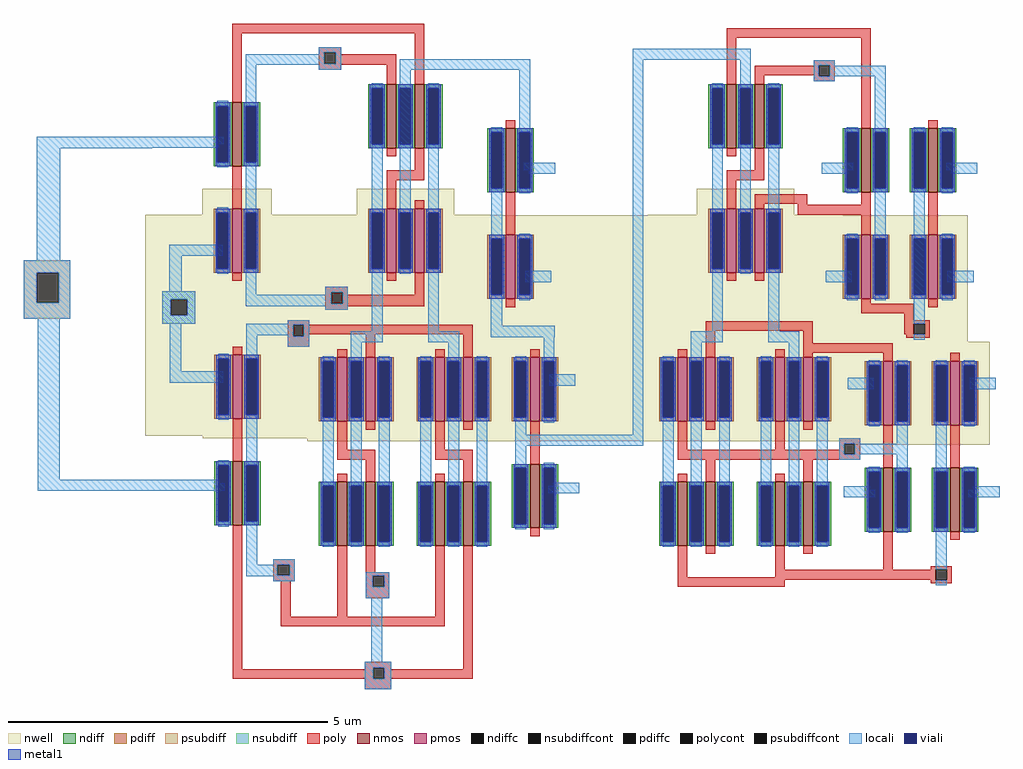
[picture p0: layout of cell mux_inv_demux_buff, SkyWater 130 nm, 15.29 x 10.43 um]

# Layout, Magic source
magic
tech sky130A
magscale 1 2
<< nwell >>
rect -508 998 -330 1064
rect -138 1016 158 1064
rect -112 998 154 1016
rect -508 928 612 998
rect -508 729 508 928
rect 746 738 1067 1062
rect 1431 768 1432 860
rect 1736 754 1766 768
rect -508 719 511 729
rect -508 707 518 719
rect -508 699 533 707
rect -508 684 518 699
rect -508 658 252 684
rect -508 494 108 658
rect 488 624 518 684
rect 612 678 1067 738
rect 612 677 746 678
rect 740 620 774 657
rect -508 371 256 494
rect -110 362 256 371
rect -1 360 256 362
rect -1 355 12 360
rect 822 354 1067 678
rect 1678 739 1711 741
rect 1735 739 1766 754
rect 1870 739 1887 754
rect 1554 642 1584 672
rect 1678 666 2070 739
rect 1678 354 1711 666
rect 1805 630 1835 639
<< psubdiff >>
rect -890 882 -744 921
rect -890 788 -849 882
rect -780 788 -744 882
rect -890 738 -744 788
<< nsubdiff >>
rect -455 799 -351 823
rect -455 749 -429 799
rect -376 749 -351 799
rect -455 721 -351 749
<< psubdiffcont >>
rect -849 788 -780 882
<< nsubdiffcont >>
rect -429 749 -376 799
<< poly >>
rect -236 1632 366 1662
rect -236 1433 -206 1632
rect 36 1572 106 1589
rect 36 1537 52 1572
rect 89 1567 106 1572
rect 89 1537 278 1567
rect 36 1533 278 1537
rect 36 1517 106 1533
rect 248 1483 278 1533
rect 336 1492 366 1632
rect 1314 1618 1766 1648
rect 1314 1497 1344 1618
rect 1587 1532 1653 1548
rect 1587 1530 1603 1532
rect 1402 1500 1603 1530
rect 1402 1498 1432 1500
rect 1587 1498 1603 1500
rect 1637 1498 1653 1532
rect 1587 1482 1653 1498
rect 1736 1360 1766 1618
rect 1402 1098 1566 1128
rect 1536 1094 1566 1098
rect 1536 1064 1766 1094
rect 55 820 127 838
rect 55 785 75 820
rect 110 813 127 820
rect 336 813 366 865
rect 110 785 366 813
rect 55 776 366 785
rect 55 766 127 776
rect 1736 754 1900 784
rect -61 719 5 733
rect 1870 732 1900 754
rect -61 682 -45 719
rect -11 688 518 719
rect -11 682 5 688
rect -61 649 5 682
rect 182 640 212 688
rect 488 624 518 688
rect 1248 700 1584 730
rect 1248 637 1278 700
rect 1554 661 1584 700
rect 1870 722 1950 732
rect 1870 688 1900 722
rect 1934 688 1950 722
rect 1877 678 1950 688
rect 1554 631 1835 661
rect 1805 615 1835 631
rect 1666 346 1732 362
rect 1666 326 1682 346
rect 1278 296 1466 326
rect 1584 312 1682 326
rect 1716 312 1732 346
rect 1584 296 1732 312
rect -234 -361 -204 76
rect -107 -33 -40 -16
rect -107 -67 -94 -33
rect -55 -67 -40 -33
rect -107 -85 -40 -67
rect -83 -196 -53 -85
rect 94 -196 124 0
rect 182 -57 212 8
rect 182 -68 256 -57
rect 182 -102 205 -68
rect 240 -102 256 -68
rect 182 -138 256 -102
rect 400 -196 430 26
rect -83 -226 430 -196
rect 180 -357 262 -337
rect 180 -361 206 -357
rect -234 -391 206 -361
rect 241 -361 262 -357
rect 488 -361 518 12
rect 1160 -73 1190 2
rect 1466 -50 1496 1
rect 1805 -50 1835 44
rect 1953 -48 2019 -38
rect 1953 -50 1969 -48
rect 1466 -73 1969 -50
rect 1160 -80 1969 -73
rect 1160 -103 1496 -80
rect 1953 -82 1969 -80
rect 2003 -82 2019 -48
rect 1953 -92 2019 -82
rect 241 -391 518 -361
rect 180 -424 262 -391
<< polycont >>
rect 52 1537 89 1572
rect 1603 1498 1637 1532
rect 75 785 110 820
rect -45 682 -11 719
rect 1900 688 1934 722
rect 1682 312 1716 346
rect -94 -67 -55 -33
rect 205 -102 240 -68
rect 206 -391 241 -357
rect 1969 -82 2003 -48
<< locali >>
rect 36 1572 106 1589
rect 36 1567 52 1572
rect -194 1537 52 1567
rect 89 1537 106 1572
rect -194 1533 106 1537
rect -194 1417 -160 1533
rect 36 1517 106 1533
rect 290 1517 698 1551
rect -849 1274 -322 1308
rect -849 1272 -487 1274
rect -849 921 -775 1272
rect 290 1229 324 1517
rect 664 1337 698 1517
rect 1019 1549 1390 1583
rect -433 934 -328 970
rect -890 882 -744 921
rect -890 788 -849 882
rect -780 788 -744 882
rect -433 823 -394 934
rect -890 738 -744 788
rect -455 799 -351 823
rect -455 749 -429 799
rect -376 749 -351 799
rect -194 813 -160 880
rect 55 820 127 838
rect 55 813 75 820
rect -194 785 75 813
rect 110 785 127 820
rect -194 777 127 785
rect 55 766 127 777
rect -846 232 -776 738
rect -455 721 -351 749
rect -61 722 5 733
rect -432 573 -395 721
rect -192 719 5 722
rect -192 686 -45 719
rect -192 612 -158 686
rect -61 682 -45 686
rect -11 682 5 719
rect -61 649 5 682
rect 575 716 611 803
rect 575 680 775 716
rect 740 620 774 680
rect -432 536 -279 573
rect 1019 373 1053 1549
rect 1356 1475 1390 1549
rect 1587 1532 1653 1548
rect 1587 1498 1603 1532
rect 1637 1531 1653 1532
rect 1637 1498 1812 1531
rect 1587 1497 1812 1498
rect 1587 1482 1653 1497
rect 1778 1338 1812 1497
rect 1900 722 1934 1089
rect 1900 672 1934 688
rect 652 339 1053 373
rect 1666 346 1732 362
rect 1666 312 1682 346
rect 1716 312 1881 346
rect 1666 296 1732 312
rect -846 222 -308 232
rect -845 198 -308 222
rect -192 -34 -157 94
rect -107 -33 -40 -16
rect -107 -34 -94 -33
rect -192 -67 -94 -34
rect -55 -67 -40 -33
rect 1969 -48 2003 66
rect -192 -69 -40 -67
rect -107 -85 -40 -69
rect 182 -68 256 -57
rect 182 -102 205 -68
rect 240 -102 256 -68
rect 1969 -98 2003 -82
rect 182 -138 256 -102
rect 200 -337 235 -138
rect 180 -357 262 -337
rect 180 -391 206 -357
rect 241 -391 262 -357
rect 180 -424 262 -391
use inverter  inverter_0
transform 1 0 -280 0 1 -580
box -78 644 170 1266
use inverter  inverter_1
transform -1 0 698 0 -1 2004
box -78 644 170 1266
use inverter  inverter_2
transform 1 0 -282 0 -1 2086
box -78 644 170 1266
use inverter  inverter_3
transform -1 0 774 0 1 -588
box -78 644 170 1266
use inverter  inverter_4
transform -1 0 2022 0 -1 2004
box -78 644 170 1266
use inverter  inverter_5
transform 1 0 1690 0 -1 2004
box -78 644 170 1266
use inverter  inverter_6
transform 1 0 1759 0 1 -600
box -78 644 170 1266
use inverter  inverter_7
transform -1 0 2091 0 1 -600
box -78 644 170 1266
use mux1_4  mux1_4_0
transform 1 0 0 0 1 0
box 0 0 612 1498
use mux1_4  mux1_4_1
transform 1 0 1066 0 1 0
box 0 0 612 1498
<< end >>

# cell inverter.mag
magic
tech sky130A
magscale 1 2
<< nwell >>
rect -48 1206 -46 1214
rect -48 1186 -34 1206
rect -48 1052 -32 1186
rect -48 1042 -34 1052
<< poly >>
rect 46 896 76 978
<< locali >>
rect -66 1116 16 1152
rect 88 874 122 1000
rect -78 802 4 812
rect -78 778 20 802
use sky130_fd_pr__nfet_01v8_WYB6A9  XM13
transform 1 0 61 0 1 770
box -73 -126 73 126
use sky130_fd_pr__pfet_01v8_5U3WHE  XM14
transform 1 0 61 0 1 1104
box -109 -162 109 162
<< end >>

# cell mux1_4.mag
magic
tech sky130A
magscale 1 2
<< nwell >>
rect 0 676 612 1064
rect 136 660 256 676
rect 378 664 476 676
rect 480 674 612 676
rect 398 660 476 664
<< locali >>
rect 202 698 236 883
rect 136 664 236 698
rect 378 698 412 891
rect 378 664 476 698
rect 136 620 170 664
rect 442 620 476 664
use mux1_2  mux1_2_0
transform 1 0 0 0 1 -98
box 0 98 306 776
use mux1_2  mux1_2_1
transform 1 0 306 0 1 -98
box 0 98 306 776
use mux1_2  mux1_2_2
transform 1 0 154 0 -1 1596
box 0 98 306 776
<< end >>

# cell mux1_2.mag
magic
tech sky130A
<< poly >>
rect 47 212 62 247
rect 47 197 106 212
rect 91 175 106 197
use mux_unitcell  mux_unitcell_0
transform 1 0 364 0 1 -45
box -364 94 -255 433
use mux_unitcell  mux_unitcell_1
transform -1 0 -211 0 1 -45
box -364 94 -255 433
<< end >>

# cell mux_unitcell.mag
magic
tech sky130A
magscale 1 2
<< nwell >>
rect -728 542 -694 570
<< locali >>
rect -680 416 -646 600
rect -592 416 -558 600
use sky130_fd_pr__nfet_01v8_WYB6A9  XM5
transform 1 0 -619 0 1 314
box -73 -126 73 126
use sky130_fd_pr__pfet_01v8_5U3WHE  XM7
transform 1 0 -619 0 1 704
box -109 -162 109 162
<< end >>

# cell sky130_fd_pr__nfet_01v8_WYB6A9: kit device sky130_fd_pr__nfet_01v8, w 1.0 l 0.15 m 1 nf 1 diffcov 100 polycov 100 guard 0 glc 0 grc 0 gtc 0 gbc 0 tbcov 100 rlcov 100 topc 0 botc 0 poverlap 0 doverlap 0 lmin 0.15 wmin 0.42 compatible {sky130_fd_pr__nfet_01v8 sky130_fd_pr__nfet_01v8_lvt sky130_fd_bs_flash__special_sonosfet_star sky130_fd_pr__nfet_g5v0d10v5 sky130_fd_pr__nfet_05v0_nvt sky130_fd_pr__nfet_03v3_nvt} full_metal 0 viasrc 100 viadrn 100 viagate 100 viagb 0 viagr 0 viagl 0 viagt 0

# cell sky130_fd_pr__pfet_01v8_5U3WHE: kit device sky130_fd_pr__pfet_01v8, w 1.0 l 0.15 m 1 nf 1 diffcov 100 polycov 100 guard 0 glc 0 grc 0 gtc 0 gbc 0 tbcov 100 rlcov 100 topc 0 botc 0 poverlap 0 doverlap 0 lmin 0.15 wmin 0.42 compatible {sky130_fd_pr__pfet_01v8 sky130_fd_pr__pfet_01v8_lvt sky130_fd_pr__pfet_01v8_hvt sky130_fd_pr__pfet_g5v0d10v5} full_metal 0 viasrc 100 viadrn 100 viagate 100 viagb 0 viagr 0 viagl 0 viagt 0
